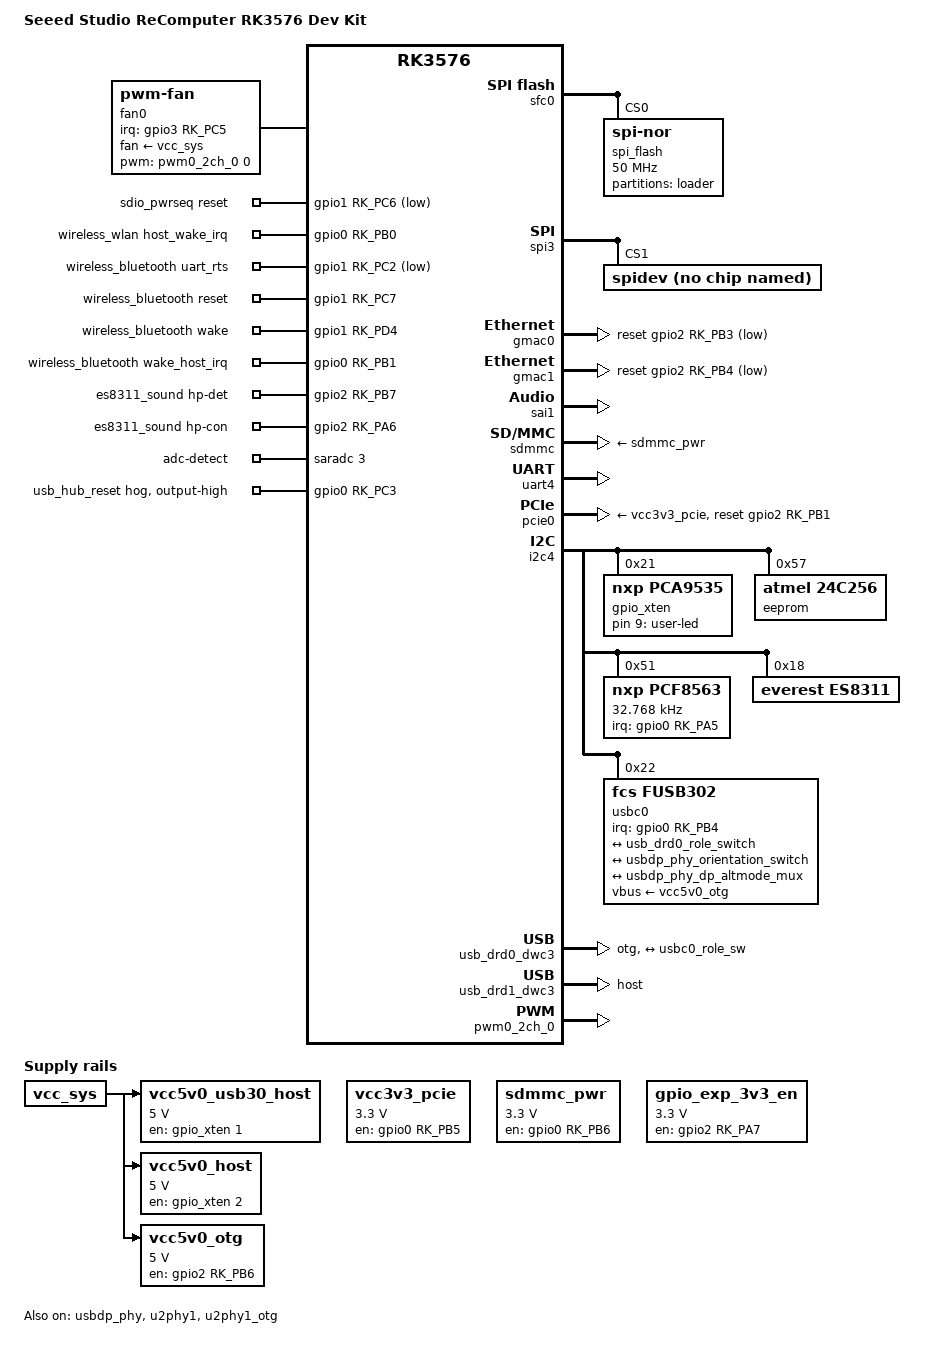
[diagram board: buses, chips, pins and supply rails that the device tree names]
// SPDX-License-Identifier: (GPL-2.0+ OR MIT)
/*
 * Copyright (c) 2024 Rockchip Electronics Co., Ltd.
 * Copyright (c) 2025 Radxa Computer (Shenzhen) Co., Ltd.
 *
 */

/dts-v1/;
#include "rk3576-recomputer-common.dtsi"
#include "recomputer-rk3576-devkit-cam.dtsi"

/ {
	model = "Seeed Studio ReComputer RK3576 Dev Kit";
	compatible = "seeed,recomputer rk3576 devkit", "rockchip,rk3576";

	/delete-node/ chosen;

	fan0: pwm-fan {
		status = "okay";
		compatible = "pwm-fan";
		#cooling-cells = <2>;
		cooling-levels = <25 45 60 75 100 130 170 210 255>;
		fan-supply = <&vcc_sys>;
		pwms = <&pwm0_2ch_0 0 60000 0>;

		interrupt-parent = <&gpio3>;
		interrupts = <RK_PC5 IRQ_TYPE_EDGE_BOTH>;
		pulses-per-revolution = <2>;
		pinctrl-names = "default";
		pinctrl-0 = <&fan_tach>;

		rockchip,temp-trips = <
			38000	1
			44000	2
			50000	3
			56000	4
			62000	5
			68000	6
			74000	7
			80000	8
        >;
	};

	vcc5v0_usb30_host: vcc5v0-usb30-host {
		compatible = "regulator-fixed";
		regulator-name = "vcc5v0_usb30_host";
		regulator-boot-on;
		regulator-always-on;
		regulator-min-microvolt = <5000000>;
		regulator-max-microvolt = <5000000>;
		enable-active-high;
		gpio = <&gpio_xten 1 GPIO_ACTIVE_HIGH>;
		vin-supply = <&vcc_sys>;
	};

	vcc5v0_host: vcc5v0-host {
		compatible = "regulator-fixed";
		regulator-name = "vcc5v0_host";
		regulator-boot-on;
		regulator-always-on;
		regulator-min-microvolt = <5000000>;
		regulator-max-microvolt = <5000000>;
		enable-active-high;
		gpio = <&gpio_xten 2 GPIO_ACTIVE_HIGH>;
		vin-supply = <&vcc_sys>;
	};

	vcc5v0_otg: vcc5v0-otg {
		compatible = "regulator-fixed";
		regulator-name = "vcc5v0_otg";
		regulator-min-microvolt = <5000000>;
		regulator-max-microvolt = <5000000>;
		enable-active-high;
		gpio = <&gpio2 RK_PB6 GPIO_ACTIVE_HIGH>;
		vin-supply = <&vcc_sys>;
		pinctrl-names = "default";
		pinctrl-0 = <&vcc5v0_otg_en>;
	};


	vcc3v3_pcie: vcc3v3-pcie {
		compatible = "regulator-fixed";
		regulator-name = "vcc3v3_pcie";
		regulator-min-microvolt = <3300000>;
		regulator-max-microvolt = <3300000>;
		enable-active-high;
		regulator-boot-on;
		regulator-always-on;
		gpios = <&gpio0 RK_PB5 GPIO_ACTIVE_HIGH>;
		startup-delay-us = <5000>;
		pinctrl-names = "default";
		pinctrl-0 = <&pcie_pwr_en>;
	};

	sdmmc_pwr: sdmmc-pwr {
		compatible = "regulator-fixed";
		regulator-name = "sdmmc_pwr";
		regulator-min-microvolt = <3300000>;
		regulator-max-microvolt = <3300000>;
		enable-active-high;
		regulator-boot-on;
		regulator-always-on;
		gpios = <&gpio0 RK_PB6 GPIO_ACTIVE_HIGH>;
		pinctrl-names = "default";
		pinctrl-0 = <&sdmmc_pwr_en>;
	};

	gpio_exp_3v3_en: gpio_exp_3v3_en{
		compatible = "regulator-fixed";
		regulator-name = "exp_3v3_en";
		regulator-min-microvolt = <3300000>;
		regulator-max-microvolt = <3300000>;
		regulator-always-on;
		regulator-boot-on;
		enable-active-high;
		gpios = <&gpio2 RK_PA7 GPIO_ACTIVE_HIGH>;
		pinctrl-names = "default";
		pinctrl-0 = <&vsys_3v3_exp_en>;
	};

	sdio_pwrseq: sdio-pwrseq {
		compatible = "mmc-pwrseq-simple";
		pinctrl-names = "default";
		pinctrl-0 = <&wifi_poweren_gpio>;

		/*
		 * On the module itself this is one of these (depending
		 * on the actual card populated):
		 * - SDIO_RESET_L_WL_REG_ON
		 * - PDN (power down when low)
		 */
		post-power-on-delay-ms = <200>;
		reset-gpios = <&gpio1 RK_PC6 GPIO_ACTIVE_LOW>;
	};

	wireless_wlan: wireless-wlan {
		compatible = "wlan-platdata";
		wifi_chip_type = "fcs960k";
		clocks = <&pcf8563>;
		clock-names = "ext_clock";
		pinctrl-names = "default";
		pinctrl-0 = <&wifi_host_wake_irq>;
		WIFI,host_wake_irq = <&gpio0 RK_PB0 GPIO_ACTIVE_HIGH>;
	};


	wireless_bluetooth: wireless-bluetooth {
		compatible = "bluetooth-platdata";
		uart_rts_gpios = <&gpio1 RK_PC2 GPIO_ACTIVE_LOW>;
		pinctrl-names = "default", "rts_gpio";
		pinctrl-0 = <&uart4m1_rtsn>;
		pinctrl-1 = <&uart4_gpios>;
		BT,reset_gpio    = <&gpio1 RK_PC7 GPIO_ACTIVE_HIGH>;
		BT,wake_gpio     = <&gpio1 RK_PD4 GPIO_ACTIVE_HIGH>;
		BT,wake_host_irq = <&gpio0 RK_PB1 GPIO_ACTIVE_HIGH>;
		status = "okay";
	};

	es8311_sound: es8311-sound {
		status = "okay";
		compatible = "rockchip,multicodecs-card";
		rockchip,card-name = "rockchip-es8311";
		io-channels = <&saradc 3>;
		io-channel-names = "adc-detect";
		keyup-threshold-microvolt = <1800000>;
		poll-interval = <100>;
		hp-det-gpio = <&gpio2 RK_PB7 GPIO_ACTIVE_HIGH>;
		hp-con-gpio = <&gpio2 RK_PA6 GPIO_ACTIVE_HIGH>;
		rockchip,pre-power-on-delay-ms = <30>;
		rockchip,post-power-down-delay-ms = <40>;
		rockchip,format = "i2s";
		rockchip,mclk-fs = <256>;
		rockchip,cpu = <&sai1>;
		rockchip,codec = <&es8311>;
        rockchip,audio-routing =
            /* Playback path - Headphone from codec differential output */
            "Headphone", "OUT",
            /* Capture path - Analog microphone */
            "MIC1", "Main Mic",
            "MIC1", "Headset Mic";
		pinctrl-names = "default";
		pinctrl-0 = <&hp_det &hp_con>;

	};

	gpio-leds {
		compatible = "gpio-leds";

		// power-led {
		// 	gpios = <&gpio0 RK_PB4 GPIO_ACTIVE_HIGH>;
		// 	linux,default-trigger = "default-on";
		// };

		user-led {
			gpios = <&gpio_xten 9 GPIO_ACTIVE_HIGH>;
			linux,default-trigger = "heartbeat";
		};
	};


};


&gpio0 {
    usb_hub_reset_hog: usb-hub-reset-hog {
        gpio-hog;
        gpios = <RK_PC3 GPIO_ACTIVE_HIGH>;
        output-high;
        line-name = "usb_hub_reset";
    };
};


&sfc0 {
	status = "okay";
	max-freq = <50000000>;
	#address-cells = <1>;
	#size-cells = <0>;
	pinctrl-names = "default";
	pinctrl-0 = <&fspi0_pins>;

	spi_flash: spi-flash@0 {
		#address-cells = <1>;
		#size-cells = <0>;
		compatible = "jedec,spi-nor";
		reg = <0x0>;
		spi-max-frequency = <50000000>;
		spi-tx-bus-width = <1>;
		spi-rx-bus-width = <4>;
		status = "okay";

		partitions {
			compatible = "fixed-partitions";
			#address-cells = <1>;
			#size-cells = <1>;

			loader@0 {
				label = "loader";
				reg = <0x0 0x1000000>;
			};
		};
	};
};

&spi3 {
	status = "okay";
	pinctrl-0 = <&spi3m1_csn1 &spi3m1_pins>;

	spidev@1 {
		compatible = "spidev";
		reg = <1>;
		status = "okay";
	};

	// m6108: mm6108@1 {
	// 	compatible = "morse,mm610x-spi";
	// 	reg = <1>;
	// 	spi-max-frequency = <50000000>;
	// 	spi-irq-gpios = <&gpio0 RK_PA0 GPIO_ACTIVE_HIGH>;
	// 	// reset-gpios = <&gpio_xten 4 GPIO_ACTIVE_HIGH>;
	// 	// power-gpios = <&gpio1 RK_PB1 GPIO_ACTIVE_HIGH>, <&gpio1 RK_PB2 GPIO_ACTIVE_HIGH>;
	// 	status = "okay";
 	// };

};

&threshold {
	temperature = <60000>;
};

&little_core_thermal {
	sustainable-power = <5000>; /* milliwatts */
	cooling-maps {
		map3 {
			trip = <&target>;
			cooling-device =
				<&fan0 THERMAL_NO_LIMIT THERMAL_NO_LIMIT>;
			contribution = <8192>;
		};
		map4 {
			trip = <&threshold>;
			cooling-device =
				<&fan0 THERMAL_NO_LIMIT THERMAL_NO_LIMIT>;
			contribution = <8192>;
		};
	};
};

&sdhci {
	status = "disabled";
};

&hdmi {
	enable-gpios = <&gpio4 RK_PC6 GPIO_ACTIVE_HIGH>;
};

&hdmi_in_vp1 {
	status = "disabled";
};

&hdmi_in_vp2 {
	status = "disabled";
};

&hdmi_in_vopl {
	status = "disabled";
};

&dp0_in_vp0 {
	status = "disabled";
};

&dp0_in_vp2 {
	status = "disabled";
};

&gmac0 {
	snps,reset-gpio = <&gpio2 RK_PB3 GPIO_ACTIVE_LOW>;

	pinctrl-names = "default";
	// pinctrl-0 = <&eth0m0_miim
	// 	     &eth0m0_tx_bus2
	// 	     &eth0m0_rx_bus2
	// 	     &eth0m0_rgmii_clk
	// 	     &eth0m0_rgmii_bus
	// 	     &ethm0_clk0_25m_out>;

	pinctrl-0 = <&eth0m0_miim
		     &eth0m0_tx_bus2
		     &eth0m0_rx_bus2
		     &eth0m0_rgmii_clk
		     &eth0m0_rgmii_bus>;
	tx_delay = <0x20>;
	/* rx_delay = <0x3f>; */
};

&gmac1 {
	snps,reset-gpio = <&gpio2 RK_PB4 GPIO_ACTIVE_LOW>;

	pinctrl-names = "default";
	pinctrl-0 = <&eth1m0_miim
		     &eth1m0_tx_bus2
		     &eth1m0_rx_bus2
		     &eth1m0_rgmii_clk
		     &eth1m0_rgmii_bus>;
	tx_delay = <0x1a>;
	/* rx_delay = <0x3f>; */
};

&rgmii_phy0 {
	realtek,clkout-disable;
};

&rgmii_phy1 {
	realtek,clkout-disable;
};

&sai1 {
	status = "okay";
	rockchip,sai-rx-route = <0 1 2 3>;
 	rockchip,sai-tx-route = <2 1 0 3>;
	pinctrl-names = "default";
	pinctrl-0 = <&sai1m0_lrck
		     &sai1m0_sclk
		     &sai1m0_sdi0
		     &sai1m0_sdo2>;
};


&sdmmc {
	pinctrl-names = "default";
	pinctrl-0 = <&sdmmc0_clk &sdmmc0_cmd &sdmmc0_det &sdmmc0_bus4>;
	vmmc-supply = <&sdmmc_pwr>;
};

&sdio {
	mmc-pwrseq = <&sdio_pwrseq>;
	pinctrl-names = "default";
	pinctrl-0 = <&sdmmc1m0_bus4 &sdmmc1m0_clk &sdmmc1m0_cmd>;
};

/* ble */
&uart4 {
	status = "okay";
	pinctrl-names = "default";
	pinctrl-0 = <&uart4m1_xfer &uart4m1_ctsn>;
	// uart-has-rtscts;
};

&pcie0 {
	reset-gpios = <&gpio2 RK_PB1 GPIO_ACTIVE_HIGH>;
	rockchip,skip-scan-in-resume;
	vpcie3v3-supply = <&vcc3v3_pcie>;
	status = "okay";
};


&i2c4 {
	status = "okay";
	pinctrl-0 = <&i2c4m3_xfer>;

	gpio_xten: gpio_xten@21 {
		compatible = "nxp,pca9535";
		reg = <0x21>;
		gpio-controller;
		#gpio-cells = <2>;

		interrupt-controller;
		gpio-line-names =
		"MIPI_DPHY_CSI0_IO1"	,"USB_USB30_PWREN_H",
		"USB_HOST_PWREN_H"	,"BRD_ID_WP",
		"LTE_RESET"	,"P05",
		"P06"	,"LoRaWan_sx1262_CS",
		"USER_LED_R"	,"USER_LED_B",
		"USER_LED_G"	,"P13",
		"P14"	,"P15",
		"P16"	,"P17";

		gpio-line-offsets = <0>, <1>, <2>, <3>, <4>, <5>, <6>, <7>, <8>, <9>, <10>, <11>, <12>, <13>, <14>, <15>;
	};


	eeprom:	at24c256@57 {
		status = "okay";
		compatible = "atmel,24c256";
		reg = <0x57>;
		pagesize = <16>;
	};

	pcf8563: pcf8563@51 {
		compatible = "nxp,pcf8563";
		reg = <0x51>;
		status = "okay";
		interrupt-parent = <&gpio0>;
		interrupts = <RK_PA5 IRQ_TYPE_EDGE_FALLING>;
		pinctrl-names = "default";
		pinctrl-0 = <&pcf8563_int>;
		#clock-cells = <0>;
		clock-frequency = <32768>;
		clock-output-names = "xin32k";
	};

	es8311: es8311@18 {
		status = "okay";
		compatible = "everest,es8311";
		reg = <0x18>;
		#sound-dai-cells = <0>;
		adc-pga-gain = <6>;     /* 18dB */
		adc-volume = <0xbf>;    /* 0dB */
		dac-volume = <0xbf>;    /* 0dB */
		aec-mode = "adc left, adc right";
		clocks = <&mclkout_sai1>;
		clock-names = "mclk";
		assigned-clocks = <&mclkout_sai1>;
		assigned-clock-rates = <12288000>;
		pinctrl-names = "default";
		pinctrl-0 = <&sai1m0_mclk>;
	};

	/* Typec Controller Fusb302 */
	usbc0: fusb302@22 {
		compatible = "fcs,fusb302";
		reg = <0x22>;
		interrupt-parent = <&gpio0>;
		interrupts = <RK_PB4 IRQ_TYPE_LEVEL_LOW>;
		pinctrl-names = "default";
		pinctrl-0 = <&aw35615_int>;
		vbus-supply = <&vcc5v0_otg>;
		status = "okay";

		ports {
			#address-cells = <1>;
			#size-cells = <0>;

			port@0 {
				reg = <0>;
				usbc0_role_sw: endpoint@0 {
					remote-endpoint = <&usb_drd0_role_switch>;
				};
			};
		};

		usb_con: connector {
			compatible = "usb-c-connector";
			label = "USB-C";
			data-role = "dual";
			power-role = "dual";
			try-power-role = "sink";
			op-sink-microwatt = <1000000>;
			sink-pdos =
				<PDO_FIXED(5000, 1000, PDO_FIXED_USB_COMM)>;
			source-pdos =
				<PDO_FIXED(5000, 3000, PDO_FIXED_USB_COMM)>;

			altmodes {
				#address-cells = <1>;
				#size-cells = <0>;

				altmode@0 {
					reg = <0>;
					svid = /bits/ 16 <0xff01>;
					vdo = <0xffffffff>;
				};
			};

			ports {
				#address-cells = <1>;
				#size-cells = <0>;

				port@0 {
					reg = <0>;
					usbc0_orien_sw: endpoint {
						remote-endpoint = <&usbdp_phy_orientation_switch>;
					};
				};

				port@1 {
					reg = <1>;
					dp_altmode_mux: endpoint {
						remote-endpoint = <&usbdp_phy_dp_altmode_mux>;
					};
				};
			};
		};
	};

};

// &gpio_xten {
// 	lte_reset_hog: lte-reset-hog {
// 		gpio-hog;
// 		gpios = <4 GPIO_ACTIVE_HIGH>;
// 		output-high;
// 		line-name = "lte_reset";
// 	};
// };


// /* usb OTG 0 */
// &u2phy0 {
// 	status = "okay";
// };

// &u2phy0_otg {
// 	vbus-supply = <&vcc5v0_otg>;
// 	status = "okay";
// };

// &usb_drd0_dwc3 {
// 	extcon = <&u2phy0>;
// 	dr_mode = "host";
// 	status = "okay";
// };

// &usbdp_phy {
// 	rockchip,dp-lane-mux = <2 3>;
// 	status = "okay";
// };

// &usbdp_phy_dp {
// 	status = "disabled";
// };

// &usbdp_phy_u3 {
// 	status = "okay";
// };


/* USB3 OTG0/DP1.4 Alt */
&usbdp_phy {
	orientation-switch;
	mode-switch;
	sbu1-dc-gpios = <&gpio4 RK_PC4 GPIO_ACTIVE_HIGH>;
	sbu2-dc-gpios = <&gpio4 RK_PC5 GPIO_ACTIVE_HIGH>;
	status = "okay";

	port {
		#address-cells = <1>;
		#size-cells = <0>;

		usbdp_phy_orientation_switch: endpoint@0 {
			reg = <0>;
			remote-endpoint = <&usbc0_orien_sw>;
		};

		usbdp_phy_dp_altmode_mux: endpoint@1 {
			reg = <1>;
			remote-endpoint = <&dp_altmode_mux>;
		};
	};
};


&usb_drd0_dwc3 {
	dr_mode = "otg";
	usb-role-switch;
	status = "okay";
	snps,parkmode-disable-hs-quirk;
	snps,parkmode-disable-ss-quirk;
	snps,dis_u3_susphy_quirk;
	snps,dis_u2_susphy_quirk;
	port {
		usb_drd0_role_switch: endpoint {
			remote-endpoint = <&usbc0_role_sw>;
		};
	};
};

/* usb OTG 1 */
&u2phy1 {
	status = "okay";
};

&u2phy1_otg {
	phy-supply = <&vcc5v0_usb30_host>;
	status = "okay";
};

&usb_drd1_dwc3 {
	dr_mode = "host";
	status = "okay";
};

&pwm0_2ch_0 {
	pinctrl-0 = <&pwm0m3_ch0>;
	status = "okay";
};

&pinctrl {
	headphone {
		hp_det: hp-det {
			rockchip,pins = <2 RK_PB7 RK_FUNC_GPIO &pcfg_pull_up>;
		};
		hp_con: hp-con {
			rockchip,pins = <2 RK_PA6 RK_FUNC_GPIO &pcfg_pull_up>;
		};
	};

	sdmmc{
		sdmmc_pwr_en: sdmmc-pwr-en {
			rockchip,pins = <0 RK_PB6 RK_FUNC_GPIO &pcfg_pull_none>;
		};
	};

	gpio_exp_en{
		vsys_3v3_exp_en: vsys-3v3-exp-en {
			rockchip,pins = <2 RK_PA7 RK_FUNC_GPIO &pcfg_pull_none>;
		};
	};

	usb {
		// TYPE-C
		aw35615_int: aw35615-int {
			rockchip,pins = <0 RK_PB4 RK_FUNC_GPIO &pcfg_pull_up>;
		};
		vcc5v0_otg_en: vcc5v0-otg-en{
			rockchip,pins = <2 RK_PB6 RK_FUNC_GPIO &pcfg_pull_up>;
		};
	};

	pcf8563 {
		pcf8563_int: pcf8563-int {
			rockchip,pins = <0 RK_PA5 RK_FUNC_GPIO &pcfg_pull_up>;
		};
	};

	pcie {
		pcie_pwr_en: pcie-pwr-en {
			rockchip,pins = <0 RK_PB5 RK_FUNC_GPIO &pcfg_pull_none>;
		};
	};

	wifi {
		wifi_host_wake_irq: wifi-host-wake-irq {
			rockchip,pins = <0 RK_PB0 RK_FUNC_GPIO &pcfg_pull_down>;
		};

		wifi_poweren_gpio: wifi-poweren-gpio {
			rockchip,pins = <1 RK_PC6 RK_FUNC_GPIO &pcfg_pull_none>;
		};
	};

	wireless-bluetooth {
		uart4_gpios: uart4-gpios {
			rockchip,pins = <1 RK_PC2 RK_FUNC_GPIO &pcfg_pull_none>;
		};
	};

	fan {
		fan_tach: fan-tach {
			rockchip,pins = <3 RK_PC5 RK_FUNC_GPIO &pcfg_pull_up>;
		};
	};

};

&gpio0 {
	gpio-line-names =
		/* GPIO0_A0-A3 */
		"", "", "", "",
		/* GPIO0_A4-A7 */
		"", "", "", "",

		/* GPIO0_B0-B3 */
		"", "", "", "",
		/* GPIO0_B4-B7 */
		"", "", "", "",

		/* GPIO0_C0-C3 */
		"", "", "", "",
		/* GPIO0_C4-C7 */
		"", "", "", "",

		/* GPIO0_D0-D3 */
		"", "", "", "",
		/* GPIO0_D4-D7 */
		"PIN_8", "PIN_10", "", "";
};

&gpio1 {
	gpio-line-names =
		/* GPIO1_A0-A3 */
		"", "", "", "",
		/* GPIO1_A4-A7 */
		"", "", "", "",

		/* GPIO1_B0-B3 */
		"", "", "", "",
		/* GPIO1_B4-B7 */
		"PIN_23", "PIN_19", "PIN_21", "PIN_24",

		/* GPIO1_C0-C3 */
		"PIN_26", "PIN_31", "PIN_33", "PIN_7",
		/* GPIO1_C4-C7 */
		"PIN_11", "PIN_15", "PIN_5", "PIN_3",

		/* GPIO1_D0-D3 */
		"PIN_40", "PIN_12", "PIN_35", "PIN_38",
		/* GPIO1_D4-D7 */
		"PIN_36", "PIN_32", "", "";
};

&gpio2 {
	gpio-line-names =
		/* GPIO2_A0-A3 */
		"", "", "", "",
		/* GPIO2_A4-A7 */
		"", "", "", "",

		/* GPIO2_B0-B3 */
		"", "", "", "",
		/* GPIO2_B4-B7 */
		"", "", "PIN_16", "PIN_18",

		/* GPIO2_C0-C3 */
		"PIN_13", "", "", "",
		/* GPIO2_C4-C7 */
		"", "", "", "",

		/* GPIO2_D0-D3 */
		"", "", "", "",
		/* GPIO2_D4-D7 */
		"", "", "", "PIN_22";
};

&gpio3 {
	gpio-line-names =
		/* GPIO3_A0-A3 */
		"", "", "PIN_29", "PIN_37",
		/* GPIO3_A4-A7 */
		"", "", "", "",

		/* GPIO3_B0-B3 */
		"", "", "", "",
		/* GPIO3_B4-B7 */
		"", "", "", "",

		/* GPIO3_C0-C3 */
		"", "", "", "",
		/* GPIO3_C4-C7 */
		"", "", "", "",

		/* GPIO3_D0-D3 */
		"", "", "", "",
		/* GPIO3_D4-D7 */
		"", "", "", "";
};

&gpio4 {
	gpio-line-names =
		/* GPIO4_A0-A3 */
		"", "", "", "",
		/* GPIO4_A4-A7 */
		"", "", "", "",

		/* GPIO4_B0-B3 */
		"", "", "", "",
		/* GPIO4_B4-B7 */
		"", "", "", "",

		/* GPIO4_C0-C3 */
		"", "", "", "",
		/* GPIO4_C4-C7 */
		"", "", "PIN_28", "PIN_27",

		/* GPIO4_D0-D3 */
		"", "", "", "",
		/* GPIO4_D4-D7 */
		"", "", "", "";
};
